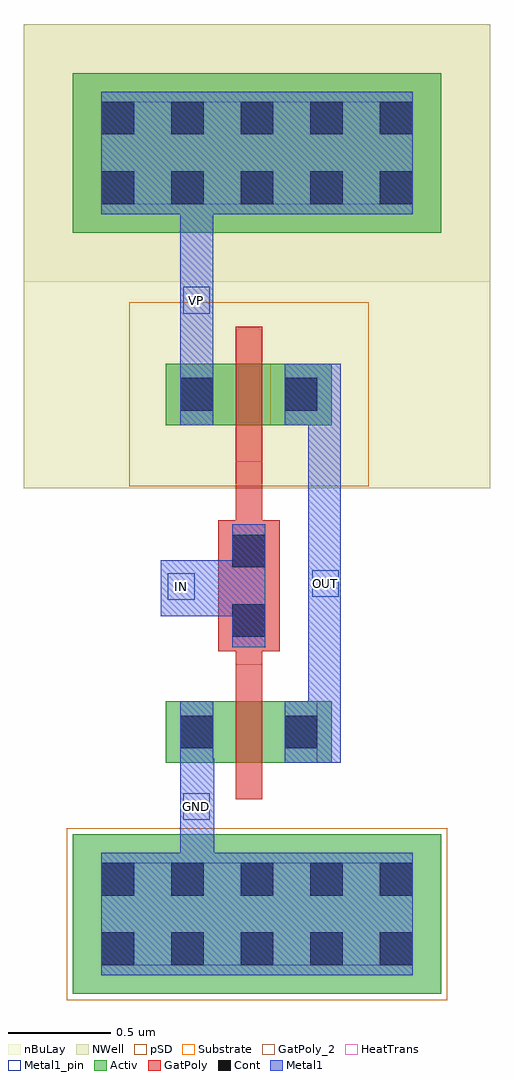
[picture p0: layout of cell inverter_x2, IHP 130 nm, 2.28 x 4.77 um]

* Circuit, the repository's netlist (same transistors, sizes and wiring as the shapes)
** sch_path: /foss/designs/CHIP-PLL/divider/inverter_x2.sch
.subckt inverter_x2 IN VP OUT GND
*.ipin IN
*.iopin VP
*.opin OUT
*.iopin GND
M1 OUT IN GND GND sg13_lv_nmos w=0.3u l=0.13u ng=1
M2 OUT IN VP VP sg13_lv_pmos w=0.3u l=0.13u ng=1
.ends

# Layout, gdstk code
import gdstk
lib = gdstk.Library(unit=1e-6, precision=1e-09)
def R(c, l, rs):  # rectangles x0, y0, x1, y1
    for r in rs: c.add(gdstk.rectangle(r[:2], r[2:], *l))
def A(c, l, x, y, w, h, nx, ny, dx, dy):  # array of equal rectangles
    R(c, l, [(x+i*dx, y+j*dy, x+i*dx+w, y+j*dy+h) for i in range(nx) for j in range(ny)])
Activ = (1, 0)
GatPoly = (5, 0)
GatPoly_2 = (5, 2)
Cont = (6, 0)
Metal1 = (8, 0)
Metal1_pin = (8, 2)
pSD = (14, 0)
NWell = (31, 0)
nBuLay = (32, 0)
Substrate = (40, 0)
HeatTrans = (51, 0)

via = lib.new_cell('Via')
R(via, GatPoly, [(-0.15,-0.32,0.15,0.32)])
R(via, Cont, [(-0.08,-0.25,0.08,-0.09), (-0.08,0.09,0.08,0.25)])
R(via, Metal1, [(-0.08,-0.3,0.08,0.3)])

pmos_1 = lib.new_cell('pmos$1')
R(pmos_1, Activ, [(0,0,0.3,0.3), (0,0,0.81,0.3), (0.51,0,0.81,0.3)])
R(pmos_1, GatPoly, [(0.34,-0.18,0.47,0.48), (0.34,-0.18,0.47,0.48)])
R(pmos_1, Cont, [(0.07,0.07,0.23,0.23), (0.58,0.07,0.74,0.23)])
R(pmos_1, Metal1, [(0.07,0,0.23,0.3), (0.07,0,0.23,0.3), (0.58,0,0.74,0.3), (0.58,0,0.74,0.3)])
R(pmos_1, pSD, [(-0.18,-0.3,0.99,0.6)])
R(pmos_1, NWell, [(-0.31,-0.31,1.12,0.61)])
R(pmos_1, Substrate, [(0.51,0,0.81,0.3)])
R(pmos_1, HeatTrans, [(0.34,-0.18,0.47,0.48)])
pmos_1.add(gdstk.Label('pmos', (0.405,0.15), layer=63, texttype=0))
pmos_1.add(gdstk.Label('pmos', (0.405,0.15), layer=51, texttype=0))

nmos_1 = lib.new_cell('nmos$1')
R(nmos_1, Activ, [(0,0,0.3,0.3), (0,0,0.81,0.3), (0.51,0,0.81,0.3)])
R(nmos_1, GatPoly, [(0.34,-0.18,0.47,0.48)])
R(nmos_1, GatPoly_2, [(0.34,-0.18,0.47,0.48)])
R(nmos_1, Cont, [(0.07,0.07,0.23,0.23), (0.58,0.07,0.74,0.23)])
R(nmos_1, Metal1, [(0.07,0,0.23,0.3), (0.58,0,0.74,0.3)])
R(nmos_1, Metal1_pin, [(0.07,0,0.23,0.3), (0.58,0,0.74,0.3)])
R(nmos_1, HeatTrans, [(0.34,-0.18,0.47,0.48)])
nmos_1.add(gdstk.Label('nmos', (0.405,0.15), layer=63, texttype=0))
nmos_1.add(gdstk.Label('nmos', (0.405,0.15), layer=51, texttype=0))

ptap = lib.new_cell('ptap')
R(ptap, Activ, [(-0.675,-1.065,0.105,-0.285)])
R(ptap, Cont, [(-0.535,-0.925,-0.375,-0.765), (-0.195,-0.925,-0.035,-0.765), (-0.535,-0.585,-0.375,-0.425), (-0.195,-0.585,-0.035,-0.425)])
R(ptap, Metal1, [(-0.535,-0.975,-0.035,-0.375)])
R(ptap, Metal1_pin, [(-0.535,-0.925,-0.035,-0.425)])
R(ptap, pSD, [(-0.705,-1.095,0.135,-0.255)])

ntap = lib.new_cell('ntap')
R(ntap, Activ, [(-0.665,-0.315,0.115,0.465)])
R(ntap, Cont, [(-0.525,-0.175,-0.365,-0.015), (-0.185,-0.175,-0.025,-0.015), (-0.525,0.165,-0.365,0.325), (-0.185,0.165,-0.025,0.325)])
R(ntap, Metal1, [(-0.525,-0.225,-0.025,0.375)])
R(ntap, Metal1_pin, [(-0.525,-0.175,-0.025,0.325)])
R(ntap, NWell, [(-0.905,-0.555,0.355,0.705)])
R(ntap, nBuLay, [(-0.905,-0.555,0.355,0.705)])

inverter_x2 = lib.new_cell('inverter_x2')
A(inverter_x2, Activ, -0.72, -2.47, 0.78, 0.78, 3, 2, 0.34, 3.72)
R(inverter_x2, GatPoly, [(-0.265,-0.935,-0.135,-0.735), (-0.265,-0.155,-0.135,0.205)])
A(inverter_x2, Cont, -0.58, -2.33, 0.16, 0.16, 4, 2, 0.34, 0.34)
A(inverter_x2, Cont, -0.58, 1.39, 0.16, 0.16, 4, 2, 0.34, 0.34)
A(inverter_x2, Metal1, -0.58, -2.38, 0.5, 0.6, 3, 2, 0.34, 3.72)
R(inverter_x2, Metal1, [(-0.535,-1.885,-0.37,-1.32), (0.09,-1.34,0.25,-1.32), (0.09,-1.32,0.25,0.59), (-0.63,-0.625,-0.28,-0.35), (0.135,0.575,0.25,0.61), (-0.535,0.59,-0.375,1.58)])
A(inverter_x2, Metal1_pin, -0.58, -2.33, 0.5, 0.5, 3, 2, 0.34, 3.72)
R(inverter_x2, Metal1_pin, [(-0.52,-1.62,-0.39,-1.49), (-0.595,-0.545,-0.465,-0.415), (0.11,-0.53,0.24,-0.4), (-0.52,0.855,-0.39,0.985)])
A(inverter_x2, pSD, -0.75, -2.5, 0.84, 0.84, 3, 1, 0.34, 0)
A(inverter_x2, NWell, -0.96, 1.01, 1.26, 1.26, 3, 1, 0.34, 0)
R(inverter_x2, NWell, [(-1.3,0,0.755,2.27), (0.755,0,0.98,2.27)])
A(inverter_x2, nBuLay, -0.96, 1.01, 1.26, 1.26, 3, 1, 0.34, 0)
inverter_x2.add(gdstk.Reference(via, (-0.2,-0.475)))
inverter_x2.add(gdstk.Reference(pmos_1, (-0.605,0.31)))
inverter_x2.add(gdstk.Reference(nmos_1, (-0.605,-1.34)))
inverter_x2.add(gdstk.Reference(ptap, (-0.385,-1.405)))
inverter_x2.add(gdstk.Reference(ntap, (-0.395,1.565)))
inverter_x2.add(gdstk.Label('OUT', (0.175,-0.465), layer=8, texttype=25))
inverter_x2.add(gdstk.Label('GND', (-0.455,-1.555), layer=8, texttype=25))
inverter_x2.add(gdstk.Label('VP', (-0.455,0.92), layer=8, texttype=25))
inverter_x2.add(gdstk.Label('IN', (-0.53,-0.48), layer=8, texttype=25))

lib.write_gds('inverter_x2.gds')
